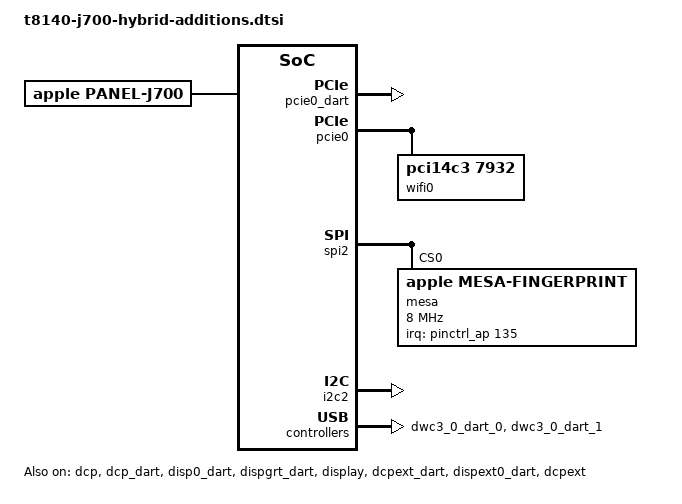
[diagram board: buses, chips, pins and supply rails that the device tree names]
// SPDX-License-Identifier: GPL-2.0+ OR MIT

/* Accepted full-platform J700 display, USB, input and radio companion nodes from Linux 2954e3f8. The clean board source remains authoritative for AV and boot policy. */



/ {

	aliases {

		gpu = &gpu;

		sep = &sep;

		atcphy0 = &atcphy0;

		dcp = &dcp;

		dcp0 = &dcp;

		disp0 = &display;

		disp0_piodma = &disp0_piodma;


		keyboard = &keyboard;

		wifi0 = &wifi0;

	};


	clk_disp0_154: clock-disp0-154 {
		compatible = "fixed-clock";
		#clock-cells = <0>;
		clock-frequency = <300000000>;
		clock-output-names = "clk_disp0_154";
	};


	clk_disp0_194: clock-disp0-194 {
		compatible = "fixed-clock";
		#clock-cells = <0>;
		clock-frequency = <450000000>;
		clock-output-names = "clk_disp0_194";
	};

};



&dcp {
	clocks = <&clk_disp0_154>, <&clk_disp0_194>;
	clock-names = "clock-154", "clock-194";
	/* The iBoot and macOS captures both use IOMFB surface slot 0. */
	apple,iomfb-surfaces = <0>;
	status = "okay";

	panel: panel {
		compatible = "apple,panel-j700", "apple,panel";
		/* 2408x1506 at the ADT's measured 219 dpi. */
		width-mm = <279>;
		height-mm = <175>;
		/* ADT LmaxProduct is 525 in 16.16 fixed point. */
		apple,max-brightness = <525>;
	};
};

&typec0 {
	ports {
		port@2 {
			reg = <2>;

			typec0_connector_dcp: endpoint {
				remote-endpoint = <&dcpext_typec0>;
			};
		};
	};
};

&dcp_dart {
	status = "okay";
};

&dcp_mbox {
	status = "okay";
};

&disp0_dart {
	status = "okay";
};

&dispgrt_dart {
	status = "okay";
};

&ps_disp_cpu {
	apple,always-on;
};

&display {
	/* Both pipes scan out buffers from the DRM device's DMA domain. */
	iommus = <&disp0_dart 0>, <&dispext0_dart 0>;
	status = "okay";
};

&framebuffer0 {
	panel = <&panel>;
	post-init-providers = <&panel>;
};

&soc {
	pcie0_dart: iommu@390000000 {
		compatible = "apple,t8140-dart", "apple,t8110-dart";
		reg = <0x3 0x90000000 0x0 0x20000>;
		#iommu-cells = <1>;
		interrupt-parent = <&aic>;
		interrupts = <AIC_IRQ 1206 IRQ_TYPE_LEVEL_HIGH>;
		power-domains = <&ps_apcie_sys_gp>;
	};

	/*
	 * The radio's DMA path.  This machine has no RAM below 4 GiB, so
	 * the MT7932 needs the translated aperture of the APCIe DART and
	 * PIODMA before its driver can claim the functions.  These used to
	 * be applied after boot by an overlay (drivers/of/j700_radio.dtso);
	 * the overlay module now only adds a MAC address override.
	 */
	piodma_radio: piodma@390030000 {
		compatible = "apple,t8140-pcie-piodma";
		reg = <0x3 0x90030000 0x0 0x4000>,
		      <0x3 0x90034000 0x0 0x4000>,
		      <0x3 0x90038000 0x0 0x4000>;
		reg-names = "engine", "irq-aggregator", "fabric";
		interrupt-parent = <&aic>;
		interrupts = <AIC_IRQ 1207 IRQ_TYPE_LEVEL_HIGH>;
		iommus = <&pcie0_dart 17>;
		apple,iova-address-bits = <36>;
		apple,piodma-base-addresses = <0x1c 0xb0000000>,
					      <0xb 0xc0000000>,
					      <0xb 0x80000000>;
		apple,piodma-aperture-sizes = <0x0 0x10000000>,
					      <0x0 0x20000000>,
					      <0x0 0x40000000>;
	};

	pcie0: pcie@1cb0000000 {
		compatible = "apple,t8140-pcie", "apple,t6020-pcie";
		device_type = "pci";

		reg = <0x1c 0xb0000000 0x0 0x10000000>, /* ECAM */
		      <0x3 0x94000000 0x0 0x4000>,     /* RC */
		      <0x3 0x90028000 0x0 0x8000>,     /* port 0 */
		      <0x3 0x97020000 0x0 0x4000>;     /* port 0 PHY */
		reg-names = "config", "rc", "port0", "phy0";

		interrupt-parent = <&aic>;
		interrupts = <AIC_IRQ 1205 IRQ_TYPE_LEVEL_HIGH>;

		msi-controller;
		msi-parent = <&pcie0>;
		msi-ranges = <&aic AIC_IRQ 1331 IRQ_TYPE_EDGE_RISING 32>;
		power-domains = <&ps_apcie_sys_gp>;

		iommu-map = <0x100 &pcie0_dart 1 1>,
			    <0x101 &pcie0_dart 2 1>;
		iommu-map-mask = <0xffff>;
		dma-coherent;
		apple,valid-functions = <0x3>;
		apple,endpoint-iova-address-bits = <32>;
		apple,piodma = <&piodma_radio>;

		bus-range = <0 8>;
		#address-cells = <3>;
		#size-cells = <2>;
		ranges = <0x43000000 0xb 0xc0000000 0xb 0xc0000000 0x0 0x20000000>,
			 <0x02000000 0x0 0x80000000 0xb 0x80000000 0x0 0x40000000>;

		port00: pci@0,0 {
			device_type = "pci";
			reg = <0x0 0x0 0x0 0x0 0x0>;
			reset-gpios = <&pinctrl_ap 114 GPIO_ACTIVE_LOW>;
			/*
			 * Live J700 ADT function-reg_on is
			 * pKW8("pcIO", 0x800000, 0x80000).  Aurora IRC
			 * 92012-92014 records the hardware pass through the existing
			 * macsmc-gpio provider as pin 8.
			 */
			pwren-gpios = <&smc_gpio 8 GPIO_ACTIVE_HIGH>;
			maximum-link-speed = <2>;

			#address-cells = <3>;
			#size-cells = <2>;
			ranges;

			interrupt-controller;
			#interrupt-cells = <1>;
			interrupt-map-mask = <0 0 0 7>;
			interrupt-map = <0 0 0 1 &port00 0 0 0 0>,
					<0 0 0 2 &port00 0 0 0 1>,
					<0 0 0 3 &port00 0 0 0 2>,
					<0 0 0 4 &port00 0 0 0 3>;

			wifi0: wifi@0,0 {
				compatible = "pci14c3,7932";
				reg = <0x10000 0x0 0x0 0x0 0x0>;
				/* To be filled by the loader */
				local-mac-address = [00 00 00 00 00 00];
			};
		};
	};
};

&spi2 {
	status = "okay";

	mesa: fingerprint@0 {
		compatible = "apple,mesa-fingerprint";
		reg = <0>;
		spi-max-frequency = <8000000>;
		spi-cpol;
		spi-cs-setup-delay-ns = <20>;
		spi-cs-hold-delay-ns = <20>;
		interrupt-parent = <&pinctrl_ap>;
		interrupts = <135 IRQ_TYPE_EDGE_RISING>;
		apple,smc-power-key = "pcLD";
		apple,smc-power-rails = <0x01010000 0x01020000>;
		firmware-name = "apple/mesacal-j700.bin";
		status = "okay";
	};
};

&i2c2 {
	status = "okay";
};

&dwc3_0_dart_0 {
	status = "okay";
};

&dwc3_0_dart_1 {
	status = "okay";
};

&dcpext_dart {
	status = "okay";
};

&dispext0_dart {
	status = "okay";
};

&dcpext_mbox {
	status = "okay";
};

&soc {
	dcpext_bw: display-bandwidth@302828000 {
		/* Native 25G83: BWR agent 2 and boost agent 3. */
		reg = <0x3 0x02828000 0x0 0x8>,
		      <0x3 0x02870000 0x0 0x4>;
		#apple,bw-scratch-cells = <3>;
		#apple,bw-doorbell-cells = <2>;
	};
};

&dcpext {
	clocks = <&clk_disp0_154>, <&clk_disp0_194>;
	clock-names = "clock-154", "clock-194";
	apple,iomfb-surfaces = <0>;

	/* The Type-C route owns PHY and crossbar selection on DP Alt Mode. */
	phys = <&atcphy0 PHY_TYPE_DP>;
	phy-names = "typec0";
	mux-controls = <&dpxbar0 0>;
	mux-control-names = "typec0";
	apple,typec-mux-indices = <2>;
	apple,typec-dptx-phys = <0>;
	apple,bw-scratch = <&dcpext_bw 0 4 0>;
	apple,bw-doorbell = <&dcpext_bw 1 5>;

	/*
	 * The J700 has no HDMI socket: this DCP's only output is the DP-Alt
	 * path on the rear Type-C connector, so the connector is a USB-C one.
	 * Without this property dcp_probe() falls through to
	 * DRM_MODE_CONNECTOR_Unknown and DRM reports the connector as
	 * "Unknown-2", which is wrong in every mode list, log and randr
	 * output userspace prints.  No kernel path branches between Unknown
	 * and USB -- the two HPD decisions in dcp.c test for DisplayPort and
	 * eDP -- so this changes the name and nothing else.
	 */
	apple,connector-type = "USB-C";
	status = "okay";

	typec-routes {
		#address-cells = <1>;
		#size-cells = <0>;

		route@0 {
			reg = <0>;
			mode-switch;

			port {
				dcpext_typec0: endpoint {
					remote-endpoint = <&typec0_connector_dcp>;
				};
			};
		};
	};
};

/*
 * The SEP fingerprint sensor shim finds the SMC by the generic "apple,smc"
 * compatible; the clean t8140.dtsi lists only the SoC-specific ones.
 */
&smc {
	compatible = "apple,t8140-smc", "apple,t8103-smc", "apple,smc";
};
